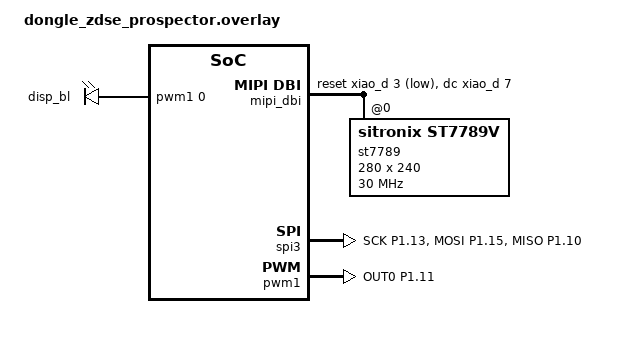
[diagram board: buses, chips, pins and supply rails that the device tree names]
/*
 * ZDSE Prospector dongle - hardware-only display shield for
 * zmk-dongle-screen-engine's dongle_screen_host.
 *
 * Display/backlight devicetree adapted from carrefinho's prospector_adapter
 * (boards/xiao_ble_zmk.overlay). The APDS9960 ambient light sensor is omitted
 * (ZDSE does not use it). The Prospector has no touch controller, so no
 * zmk,touch chosen node is provided and theme gestures are inactive.
 */

#include "dongle_prospector_common.dtsi"

/ {
	chosen {
		zephyr,display = &st7789;
	};

	pwmleds {
		compatible = "pwm-leds";
		disp_bl: pwm_led_1 {
			pwms = <&pwm1 0 PWM_MSEC(1) PWM_POLARITY_NORMAL>;
		};
	};
};

&spi2 {
	status = "disabled";
};

&pinctrl {
	spi3_default: spi3_default {
		group1 {
			psels = <NRF_PSEL(SPIM_SCK, 1, 13)>,
				<NRF_PSEL(SPIM_MOSI, 1, 15)>,
				<NRF_PSEL(SPIM_MISO, 1, 10)>;
		};
	};

	spi3_sleep: spi3_sleep {
		group1 {
			psels = <NRF_PSEL(SPIM_SCK, 1, 13)>,
				<NRF_PSEL(SPIM_MOSI, 1, 15)>,
				<NRF_PSEL(SPIM_MISO, 1, 10)>;
			low-power-enable;
		};
	};

	pwm1_default: pwm1_default {
		group1 {
			psels = <NRF_PSEL(PWM_OUT0, 1, 11)>;
			nordic,invert;
		};
	};

	pwm1_sleep: pwm1_sleep {
		group1 {
			psels = <NRF_PSEL(PWM_OUT0, 1, 11)>;
			low-power-enable;
		};
	};
};

disp_spi: &spi3 {
	status = "okay";
	pinctrl-0 = <&spi3_default>;
	pinctrl-1 = <&spi3_sleep>;
	pinctrl-names = "default", "sleep";
	cs-gpios = <&xiao_d 9 GPIO_ACTIVE_LOW>;
};

/ {
	mipi_dbi {
		compatible = "zephyr,mipi-dbi-spi";
		spi-dev = <&spi3>;
		dc-gpios = <&xiao_d 7 GPIO_ACTIVE_HIGH>;
		reset-gpios = <&xiao_d 3 GPIO_ACTIVE_LOW>;
		write-only;
		#address-cells = <1>;
		#size-cells = <0>;

		st7789: st7789v@0 {
			compatible = "sitronix,st7789v";
			mipi-max-frequency = <30000000>;
			mipi-mode = "MIPI_DBI_MODE_SPI_4WIRE";
			reg = <0>;
			/* Native landscape 280x240 (MADCTL MV|MX), matching carrefinho's
			 * runtime ROTATED_270 and ZDSE's expected "mdac 0x60" landscape.
			 * Offsets swap with rotation: the 320-row panel window offset
			 * (20) moves to the x axis. */
			width = <280>;
			height = <240>;
			x-offset = <20>;
			y-offset = <0>;
			mdac = <0x60>;
			vcom = <0x19>;
			gctrl = <0x35>;
			vrhs = <0x12>;
		vdvs = <0x20>;
		gamma = <0x01>;
			colmod = <0x05>;
			lcm = <0x2c>;
			porch-param = [ 0c 0c 00 33 33 ];
			cmd2en-param = [ 5a 69 02 01 ];
			pwctrl1-param = [ a4 a1 ];
			pvgam-param = [ D0 04 0D 11 13 2B 3F 54 4C 18 0D 0B 1F 23 ];
			nvgam-param = [ D0 04 0C 11 13 2C 3F 44 51 2F 1F 1F 20 23 ];
			ram-param = [ 00 F0 ];
			rgb-param = [ CD 08 14 ];
		};
	};
};

&pwm1 {
	status = "okay";
	pinctrl-0 = <&pwm1_default>;
	pinctrl-1 = <&pwm1_sleep>;
	pinctrl-names = "default", "sleep";
};
